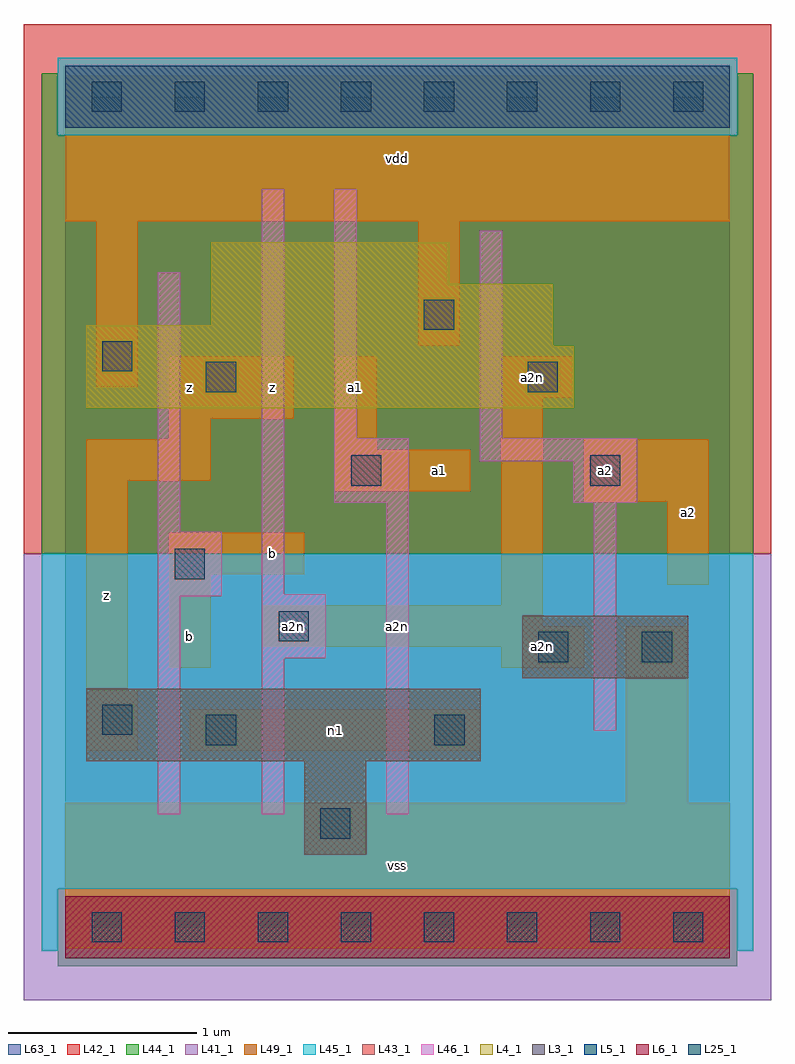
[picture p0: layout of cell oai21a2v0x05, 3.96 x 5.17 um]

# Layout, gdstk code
import gdstk
lib = gdstk.Library(unit=1e-6, precision=1e-09)
def R(c, l, rs):  # rectangles x0, y0, x1, y1
    for r in rs: c.add(gdstk.rectangle(r[:2], r[2:], *l))
def A(c, l, x, y, w, h, nx, ny, dx, dy):  # array of equal rectangles
    R(c, l, [(x+i*dx, y+j*dy, x+i*dx+w, y+j*dy+h) for i in range(nx) for j in range(ny)])
L3_1 = (3, 1)
L4_1 = (4, 1)
L5_1 = (5, 1)
L6_1 = (6, 1)
L25_1 = (25, 1)
L41_1 = (41, 1)
L42_1 = (42, 1)
L43_1 = (43, 1)
L44_1 = (44, 1)
L45_1 = (45, 1)
L46_1 = (46, 1)
L49_1 = (49, 1)
L63_1 = (63, 1)

oai21a2v0x05 = lib.new_cell('oai21a2v0x05')
R(oai21a2v0x05, L3_1, [(1.265,0.385,1.595,0.88), (0.11,0.88,2.2,1.265), (2.42,1.32,3.3,1.65)])
R(oai21a2v0x05, L4_1, [(0.11,2.75,2.695,3.08), (0.11,3.08,2.585,3.19), (0.77,3.19,2.585,3.41), (0.77,3.41,2.035,3.63)])
R(oai21a2v0x05, L5_1, [(0,4.235,3.52,4.565)])
R(oai21a2v0x05, L6_1, [(0,-0.165,3.52,0.165)])
A(oai21a2v0x05, L25_1, 0.14, -0.08, 0.16, 0.16, 8, 2, 0.44, 4.4)
R(oai21a2v0x05, L25_1, [(1.35,0.47,1.51,0.63), (0.745,0.965,0.905,1.125), (1.955,0.965,2.115,1.125), (0.195,1.02,0.355,1.18), (2.505,1.405,2.665,1.565), (3.055,1.405,3.215,1.565), (1.13,1.515,1.29,1.675), (0.58,1.845,0.74,2.005), (1.515,2.34,1.675,2.5), (2.78,2.34,2.94,2.5), (0.745,2.835,0.905,2.995), (2.45,2.835,2.61,2.995), (0.195,2.945,0.355,3.105), (1.9,3.165,2.06,3.325)])
R(oai21a2v0x05, L41_1, [(-0.22,-0.385,3.74,1.98)])
R(oai21a2v0x05, L42_1, [(-0.22,1.98,3.74,4.785)])
R(oai21a2v0x05, L43_1, [(0,-0.165,3.52,0.165), (1.265,0.385,1.595,0.88), (0.11,0.88,2.2,1.265), (2.42,1.32,3.3,1.65), (0.11,2.75,2.695,3.08), (0.11,3.08,2.585,3.19), (0.77,3.19,2.585,3.41), (0.77,3.41,2.035,3.63), (0,4.235,3.52,4.565)])
R(oai21a2v0x05, L44_1, [(-0.04,-0.205,3.56,0.205), (-0.125,1.98,3.645,4.195), (-0.125,4.195,-0.04,4.525), (3.56,4.195,3.645,4.525)])
R(oai21a2v0x05, L45_1, [(-0.125,-0.125,-0.04,0.205), (3.56,-0.125,3.645,0.205), (-0.125,0.205,3.645,1.98), (-0.04,4.195,3.56,4.605)])
R(oai21a2v0x05, L46_1, [(0.49,0.6,0.61,1.755), (1.04,0.6,1.16,1.425), (1.7,0.6,1.82,2.25), (2.8,1.04,2.92,2.25), (1.04,1.425,1.38,1.765), (0.49,1.755,0.83,2.095), (1.04,1.765,1.16,3.91), (0.49,2.095,0.61,3.47), (1.425,2.25,1.82,2.59), (2.69,2.25,3.03,2.47), (2.195,2.47,3.03,2.59), (1.425,2.59,1.545,3.91), (2.195,2.59,2.315,3.69)])
R(oai21a2v0x05, L49_1, [(0,-0.11,3.52,0.66), (2.97,0.66,3.3,1.595), (0.11,0.935,0.385,1.265), (0.66,0.935,2.2,1.155), (0.11,1.265,0.33,2.365), (0.55,1.375,0.77,1.87), (2.31,1.375,2.75,1.485), (1.045,1.485,2.75,1.595), (1.045,1.595,2.53,1.705), (2.31,1.705,2.53,2.805), (3.19,1.815,3.41,2.255), (0.55,1.87,1.265,2.09), (2.75,2.255,3.41,2.585), (1.43,2.31,2.145,2.53), (0.11,2.365,0.77,2.585), (1.43,2.53,1.65,3.025), (0.55,2.585,0.77,2.695), (0.55,2.695,1.21,3.025), (2.31,2.805,2.695,3.025), (0.165,2.86,0.385,3.74), (1.87,3.08,2.09,3.74), (0,3.74,3.52,4.51)])
R(oai21a2v0x05, L63_1, [(0,0,3.52,4.4)])
oai21a2v0x05.add(gdstk.Label('a2n', (1.21,1.595), layer=49, texttype=1))
oai21a2v0x05.add(gdstk.Label('z', (0.22,1.76), layer=49, texttype=1))
oai21a2v0x05.add(gdstk.Label('b', (0.66,1.54), layer=49, texttype=1))
oai21a2v0x05.add(gdstk.Label('b', (1.1,1.98), layer=49, texttype=1))
oai21a2v0x05.add(gdstk.Label('z', (1.1,2.86), layer=49, texttype=1))
oai21a2v0x05.add(gdstk.Label('z', (0.66,2.86), layer=49, texttype=1))
oai21a2v0x05.add(gdstk.Label('vss', (1.76,0.33), layer=49, texttype=1))
oai21a2v0x05.add(gdstk.Label('a1', (1.98,2.42), layer=49, texttype=1))
oai21a2v0x05.add(gdstk.Label('a1', (1.54,2.86), layer=49, texttype=1))
oai21a2v0x05.add(gdstk.Label('vdd', (1.76,4.07), layer=49, texttype=1))
oai21a2v0x05.add(gdstk.Label('n1', (1.43,1.045), layer=49, texttype=1))
oai21a2v0x05.add(gdstk.Label('a2n', (2.53,1.485), layer=49, texttype=1))
oai21a2v0x05.add(gdstk.Label('a2n', (1.76,1.595), layer=49, texttype=1))
oai21a2v0x05.add(gdstk.Label('a2n', (2.475,2.915), layer=49, texttype=1))
oai21a2v0x05.add(gdstk.Label('a2', (2.86,2.42), layer=49, texttype=1))
oai21a2v0x05.add(gdstk.Label('a2', (3.3,2.2), layer=49, texttype=1))

lib.write_gds('oai21a2v0x05.gds')
